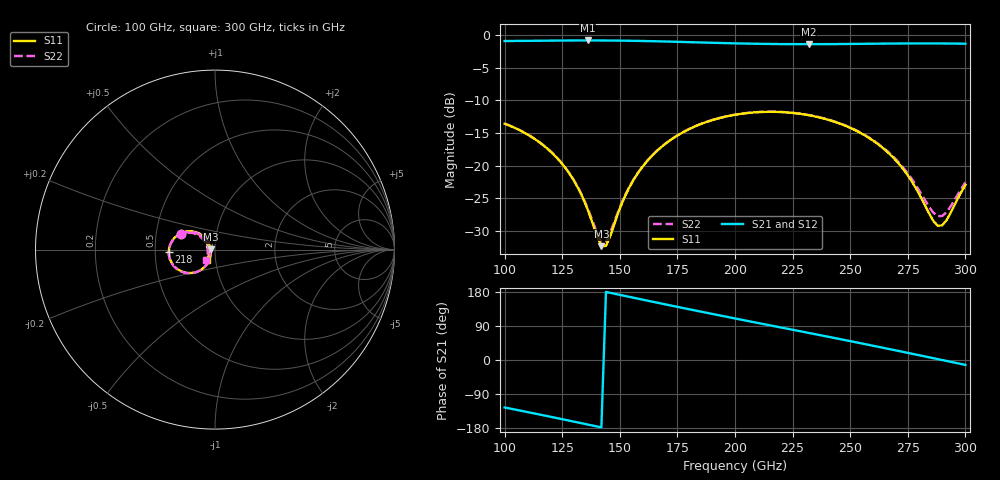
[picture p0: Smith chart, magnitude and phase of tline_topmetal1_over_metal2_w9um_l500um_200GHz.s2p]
#  GHZ S DB R 50
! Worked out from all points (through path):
!   101 points, 100 GHz to 300 GHz, reference 50 ohm
!   highest |S21| = -0.84 dB at 136 GHz (marker M1); lowest = -1.4 dB at 232 GHz (marker M2)
!   group delay of S21, straight-line fit = 3.42 ps
!   lowest |S11| = -32.3 dB at 142 GHz (marker M3), VSWR 1.05, Z = 47.6 + j0.256 ohm
!   |S11| at or under -10 dB: start of sweep to end of sweep
!   |S22| runs from -31.6 to -11.7 dB; largest |S21 - S12| = 9.9e-14
!   S11 on the Smith chart (normalised r, x): 100 GHz: 0.67, +0.13; 218 GHz: 0.59, -0.02; 300 GHz: 0.91, -0.10
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100  -13.57 154.9  -0.93 -125.2  -0.93 -125.2  -13.56 155.7
110  -15.24 144.2  -0.90 -137.5  -0.90 -137.5  -15.22 145.1
120  -17.85 134.7  -0.87 -149.9  -0.87 -149.9  -17.82 136.0
128  -21.14 129.8  -0.85 -160.0  -0.85 -160.0  -21.08 131.6
134  -24.96 131.5  -0.84 -167.6  -0.84 -167.6  -24.82 133.8
136  -26.66 134.8  -0.84 -170.2  -0.84 -170.2  -26.46 137.5
142  -32.31 173.6  -0.85 -177.8  -0.85 -177.8  -31.62 175.3
144  -32.27 -161.3  -0.85 179.6  -0.85 179.6  -31.58 -161.8
152  -24.88 -120.0  -0.88 169.4  -0.88 169.4  -24.73 -121.2
156  -22.16 -118.1  -0.90 164.3  -0.90 164.3  -22.08 -118.9
168  -17.16 -125.0  -0.99 149.0  -0.99 149.0  -17.12 -125.0
182  -14.09 -138.7  -1.12 131.5  -1.12 131.5  -14.07 -138.4
200  -12.21 -157.9  -1.28 109.6  -1.28 109.6  -12.19 -157.2
218  -11.77 -177.1  -1.39 88.1  -1.39 88.1  -11.75 -176.1
232  -12.28 168.2  -1.41 71.5  -1.41 71.5  -12.25 169.5
234  -12.41 166.1  -1.41 69.1  -1.41 69.1  -12.38 167.5
252  -14.54 148.2  -1.37 47.3  -1.37 47.3  -14.48 150.3
268  -18.53 136.1  -1.32 27.6  -1.32 27.6  -18.38 139.3
276  -22.00 135.4  -1.30 17.5  -1.30 17.5  -21.68 139.9
288  -29.19 177.6  -1.30 2.4  -1.30 2.4  -27.73 179.4
292  -28.24 -151.8  -1.31 -2.7  -1.31 -2.7  -27.04 -155.0
300  -22.94 -127.6  -1.34 -12.9  -1.34 -12.9  -22.56 -131.1
